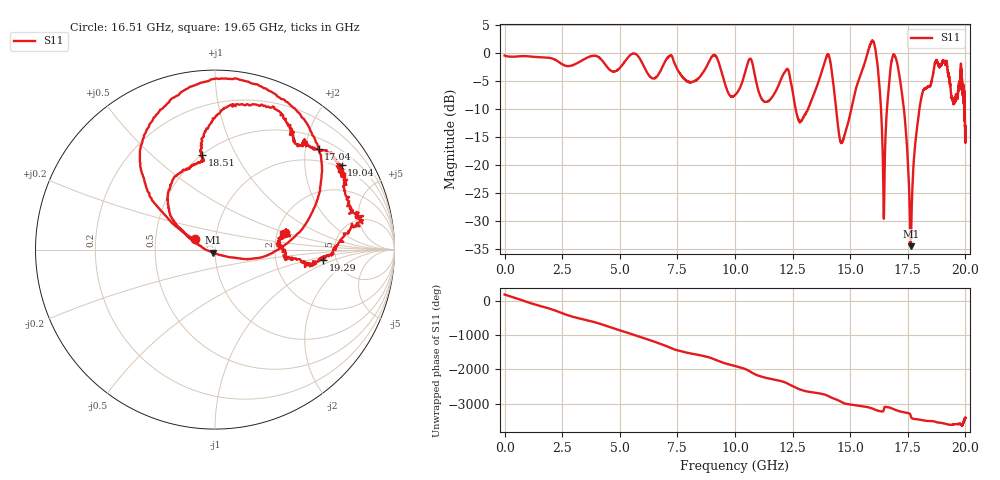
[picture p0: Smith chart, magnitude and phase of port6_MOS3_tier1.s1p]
! Created with skrf 1.8.0 (http://scikit-rf.org).
# GHz S RI R 50.0
!freq ReS11 ImS11
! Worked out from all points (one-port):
!   10001 points, 1 MHz to 20 GHz, reference 50 ohm
!   lowest |S11| = -34.6 dB at 17.63 GHz (marker M1), VSWR 1.04, Z = 49 - j1.59 ohm
!   |S11| at or under -10 dB: 12.63 GHz to 13.18 GHz (548.4 MHz wide, 4.25 % of centre); 14.39 GHz to 15.05 GHz (666.1 MHz wide, 4.52 % of centre); 17.33 GHz to 18.01 GHz (678.2 MHz wide, 3.84 % of centre) (the widest 3 of 8)
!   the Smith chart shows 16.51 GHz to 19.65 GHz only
!   S11 on the Smith chart (normalised r, x): 16.51 GHz: 0.79, +0.09; 17.04 GHz: 0.71, +2.28; 18.51 GHz: 0.50, +0.74; 19.04 GHz: 0.92, +3.06; 19.29 GHz: 3.91, -0.72; 19.65 GHz: 2.16, +0.44
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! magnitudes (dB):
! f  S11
! 1 MHz  -0.5
! 2.501 GHz  -2.1
! 5.001 GHz  -2.8
! 7.501 GHz  -3.0
! 9.121 GHz  -0.5
! 10 GHz  -7.6
! 10.65 GHz  -1.1
! 11.25 GHz  -8.7
! 12.23 GHz  -3.0
! 12.5 GHz  -6.9
! 12.89 GHz  -12.1
! 14.03 GHz  -0.4
! 14.58 GHz  -16.0
! 15 GHz  -10.9
! 15.99 GHz  2.0
! 16.42 GHz  -19.7
! 16.51 GHz  -17.9
! 16.76 GHz  -2.3
! 17.04 GHz  -1.9
! 17.5 GHz  -19.2
! 17.63 GHz  -34.6
! 18.04 GHz  -9.1
! 18.51 GHz  -5.5
! 19.04 GHz  -1.4
! 19.29 GHz  -4.4
! 19.65 GHz  -8.2
! 19.85 GHz  -6.0
! 20 GHz  -14.5
